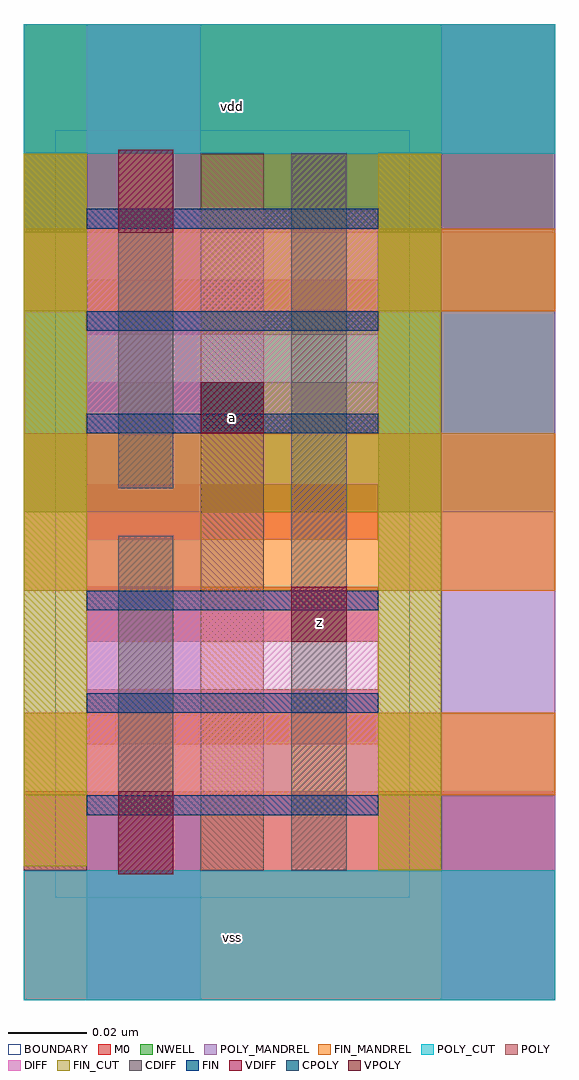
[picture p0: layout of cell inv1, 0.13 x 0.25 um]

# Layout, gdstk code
import gdstk
lib = gdstk.Library(unit=1e-6, precision=1e-09)
def R(c, l, rs):  # rectangles x0, y0, x1, y1
    for r in rs: c.add(gdstk.rectangle(r[:2], r[2:], *l))
def A(c, l, x, y, w, h, nx, ny, dx, dy):  # array of equal rectangles
    R(c, l, [(x+i*dx, y+j*dy, x+i*dx+w, y+j*dy+h) for i in range(nx) for j in range(ny)])
BOUNDARY = (1, 0)
NWELL = (5, 1)
DIFF = (7, 7)
FIN = (7, 8)
FIN_MANDREL = (7, 10)
FIN_CUT = (7, 50)
POLY = (9, 7)
POLY_MANDREL = (9, 10)
POLY_CUT = (9, 50)
CPOLY = (9, 100)
VPOLY = (9, 135)
VDIFF = (10, 0)
CDIFF = (10, 1)
M0 = (30, 0)

inv1 = lib.new_cell('inv1')
R(inv1, BOUNDARY, [(-0.008,-0.013,0.082,0.182), (-0.008,-0.013,0.082,0.182)])
R(inv1, NWELL, [(-0.016,0.085,0.119,0.209)])
R(inv1, DIFF, [(0,0.008,0.074,0.065), (0,0.105,0.074,0.162)])
A(inv1, FIN, 0, 0.008, 0.074, 0.005, 1, 3, 0, 0.026)
A(inv1, FIN, 0, 0.105, 0.074, 0.005, 1, 3, 0, 0.026)
R(inv1, FIN_MANDREL, [(-0.016,0.013,0.119,0.034), (-0.016,0.065,0.119,0.105), (-0.016,0.136,0.119,0.157)])
R(inv1, FIN_CUT, [(0.074,-0.006,0.09,0.176), (-0.016,-0.005,0,0.176)])
A(inv1, POLY, -0.016, -0.006, 0.016, 0.182, 3, 1, 0.045, 0)
R(inv1, POLY_MANDREL, [(0,-0.039,0.029,0.209), (0.09,-0.039,0.119,0.209)])
R(inv1, POLY_CUT, [(-0.016,-0.039,0.119,-0.006), (-0.016,0.176,0.119,0.209)])
R(inv1, CPOLY, [(0.029,0.105,0.045,0.118)])
R(inv1, VPOLY, [(0.029,0.105,0.045,0.118)])
R(inv1, VDIFF, [(0.008,-0.007,0.022,0.014), (0.052,0.052,0.066,0.066), (0.008,0.156,0.022,0.177)])
R(inv1, CDIFF, [(0.008,-0.007,0.022,0.079), (0.052,-0.006,0.066,0.176), (0.008,0.091,0.022,0.177)])
A(inv1, M0, 0, 0.026, 0.074, 0.014, 1, 3, 0, 0.026)
R(inv1, M0, [(-0.016,-0.039,0.119,0.014), (0,0.105,0.074,0.118), (0,0.13,0.074,0.144), (-0.016,0.156,0.119,0.209)])
inv1.add(gdstk.Label('vss', (0.037,-0.023), layer=30, texttype=12))
inv1.add(gdstk.Label('vdd', (0.037,0.188), layer=30, texttype=12))
inv1.add(gdstk.Label('z', (0.059,0.057), layer=30, texttype=12))
inv1.add(gdstk.Label('a', (0.037,0.109), layer=30, texttype=12))

lib.write_gds('inv1.gds')
